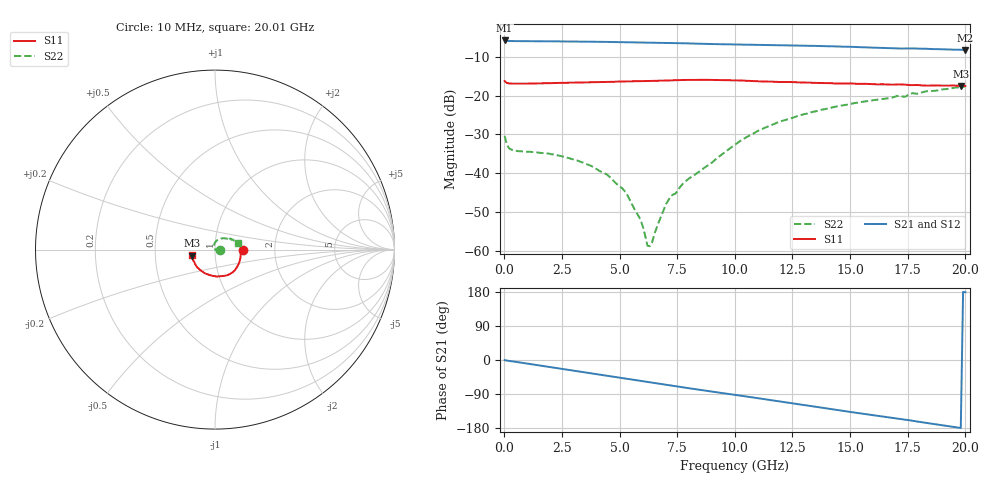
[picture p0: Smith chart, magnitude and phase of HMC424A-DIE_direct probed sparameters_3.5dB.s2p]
!s2p File: Measurements: S11, S21, S12, S22
# GHz S dB R 50.0
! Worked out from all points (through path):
!   201 points, 10 MHz to 20.01 GHz, reference 50 ohm
!   highest |S21| = -5.76 dB at 10 MHz (marker M1); lowest = -8.2 dB at 20.01 GHz (marker M2)
!   group delay of S21, straight-line fit = 25 ps
!   lowest |S11| = -17.5 dB at 19.81 GHz (marker M3), VSWR 1.31, Z = 38.5 - j2.62 ohm
!   |S11| at or under -10 dB: start of sweep to end of sweep
!   |S22| runs from -58.8 to -17.6 dB; largest |S21 - S12| = 0.0034
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0.01  -16.22 -1.3  -5.76 -0.4  -5.75 -0.4  -30.35 -4.2
0.11  -16.71 -2.3  -5.87 -1.5  -5.87 -1.5  -32.62 -12.8
0.31  -16.87 -2.4  -5.92 -3.2  -5.92 -3.2  -33.92 -9.8
1.91  -16.77 -8.8  -5.98 -18.1  -5.98 -18.1  -34.92 -18.2
3.41  -16.58 -16.4  -6.06 -32.0  -6.06 -32.0  -37.25 -31.2
4.41  -16.46 -22.3  -6.13 -41.3  -6.13 -41.3  -40.18 -39.9
5.21  -16.34 -27.1  -6.19 -48.7  -6.20 -48.7  -44.51 -43.7
5.91  -16.26 -31.4  -6.26 -55.2  -6.26 -55.2  -52.02 -31.5
6.21  -16.22 -33.3  -6.30 -58.0  -6.30 -58.0  -58.67 -1.9
6.31  -16.20 -34.0  -6.30 -59.0  -6.31 -58.9  -58.79 21.6
6.41  -16.18 -34.7  -6.32 -59.9  -6.32 -59.9  -57.86 50.3
6.71  -16.14 -36.9  -6.35 -62.6  -6.35 -62.6  -52.46 83.0
7.01  -16.09 -39.0  -6.39 -65.4  -6.39 -65.4  -48.04 96.2
7.21  -16.06 -40.6  -6.41 -67.2  -6.42 -67.2  -45.93 95.2
7.41  -16.02 -42.0  -6.44 -69.1  -6.44 -69.1  -45.29 95.0
7.81  -15.94 -45.1  -6.49 -72.7  -6.51 -72.7  -42.32 98.3
10.01  -16.04 -65.0  -6.80 -92.0  -6.81 -91.9  -32.66 103.4
11.21  -16.33 -75.6  -6.91 -102.6  -6.92 -102.5  -28.49 91.6
13.41  -16.66 -95.4  -7.15 -122.5  -7.17 -122.4  -24.13 68.4
16.71  -17.13 -130.5  -7.73 -151.9  -7.72 -151.8  -20.66 40.6
19.81  -17.50 -165.5  -8.16 -179.4  -8.16 -179.2  -17.78 17.4
20.01  -17.49 -167.1  -8.20 178.8  -8.17 179.1  -17.61 15.8
